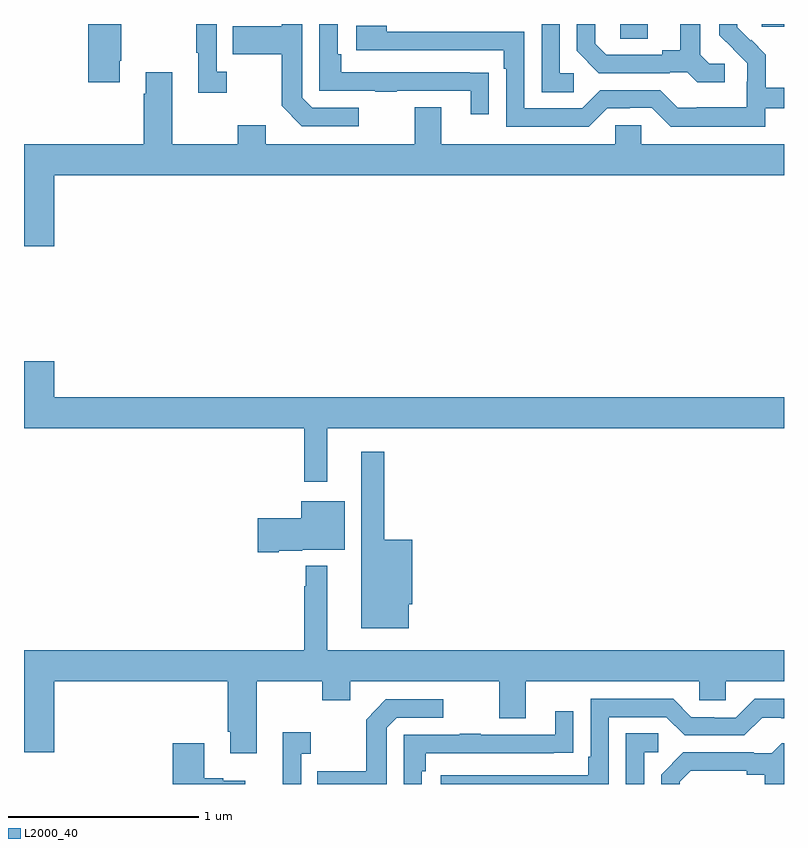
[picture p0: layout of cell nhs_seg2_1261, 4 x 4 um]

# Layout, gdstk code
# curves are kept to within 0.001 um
import gdstk
lib = gdstk.Library(unit=1e-6, precision=1e-09)
def R(c, l, rs):  # rectangles x0, y0, x1, y1
    for r in rs: c.add(gdstk.rectangle(r[:2], r[2:], *l))
def P(c, l, *ps):  # polygons
    for p in ps: c.add(gdstk.Polygon(p, *l))
L2000_40 = (2000, 40)

nhs_seg2_1261 = lib.new_cell('nhs_seg2_1261')
R(nhs_seg2_1261, L2000_40, [(180.138,613.723,180.283,613.8), (180.884,613.785,181,613.8)])
P(nhs_seg2_1261, L2000_40, [(178.066,613.55),(178.014,613.55),(178.014,613.8),(177.906,613.8),(177.906,613.649),(177.917,613.649),(177.917,613.437),(178.066,613.437)],
  [(180.688,613.59),(180.606,613.59),(180.559,613.637),(180.559,613.8),(180.455,613.8),(180.455,613.661),(180.359,613.661),(180.359,613.638),(180.064,613.638),(180.007,613.695),(180.007,613.8),(179.91,613.8),(179.91,613.658),(180.026,613.542),(180.398,613.542),(180.398,613.545),(180.492,613.545),(180.544,613.493),(180.688,613.493)],
  [(178.762,613.359),(178.518,613.359),(178.464,613.413),(178.464,613.8),(178.356,613.8),(178.356,613.789),(178.099,613.789),(178.099,613.642),(178.356,613.642),(178.356,613.369),(178.461,613.263),(178.762,613.263)],
  [(177.505,613.606),(177.513,613.606),(177.513,613.8),(177.338,613.8),(177.338,613.494),(177.505,613.494)],
  [(180.9,613.356),(181,613.356),(181,613.465),(180.905,613.465),(180.905,613.639),(180.828,613.716),(180.825,613.713),(180.755,613.784),(180.755,613.8),(180.66,613.8),(180.66,613.742),(180.806,613.594),(180.806,613.497),(180.804,613.497),(180.804,613.363),(180.541,613.363),(180.541,613.359),(180.441,613.359),(180.348,613.452),(180.033,613.452),(179.937,613.356),(179.634,613.356),(179.634,613.758),(178.91,613.758),(178.91,613.792),(178.749,613.792),(178.749,613.662),(179.525,613.662),(179.525,613.565),(179.538,613.565),(179.538,613.26),(179.973,613.26),(180.069,613.356),(180.188,613.356),(180.188,613.359),(180.303,613.359),(180.403,613.259),(180.9,613.259)],
  [(179.447,613.544),(179.345,613.544),(179.345,613.545),(178.67,613.545),(178.67,613.642),(178.65,613.642),(178.65,613.8),(178.554,613.8),(178.554,613.449),(178.849,613.449),(178.849,613.444),(178.961,613.444),(178.961,613.449),(179.351,613.449),(179.351,613.326),(179.447,613.326)],
  [(179.893,613.542),(179.82,613.542),(179.82,613.8),(179.724,613.8),(179.724,613.441),(179.893,613.441)],
  [(177.16,613.004),(181,613.004),(181,613.168),(180.249,613.168),(180.249,613.266),(180.111,613.266),(180.111,613.168),(179.197,613.168),(179.197,613.363),(179.057,613.363),(179.057,613.168),(178.273,613.168),(178.273,613.267),(178.126,613.267),(178.126,613.168),(177.781,613.168),(177.781,613.546),(177.641,613.546),(177.641,613.433),(177.629,613.433),(177.629,613.168),(177,613.168),(177,612.63),(177.16,612.63)],
  [(178.597,611.672),(181,611.672),(181,611.836),(177.16,611.836),(177.16,612.025),(177,612.025),(177,611.672),(178.476,611.672),(178.476,611.391),(178.597,611.391)],
  [(179.026,610.746),(179.044,610.746),(179.044,611.086),(178.897,611.086),(178.897,611.548),(178.775,611.548),(178.775,610.619),(179.026,610.619)],
  [(178.342,611.027),(178.464,611.027),(178.464,611.033),(178.687,611.033),(178.687,611.287),(178.46,611.287),(178.46,611.199),(178.23,611.199),(178.23,611.021),(178.342,611.021)],
  [(178.225,610.34),(178.57,610.34),(178.57,610.241),(178.717,610.241),(178.717,610.34),(179.501,610.34),(179.501,610.146),(179.641,610.146),(179.641,610.34),(180.555,610.34),(180.555,610.242),(180.693,610.242),(180.693,610.34),(181,610.34),(181,610.504),(178.597,610.504),(178.597,610.948),(178.483,610.948),(178.483,610.841),(178.476,610.841),(178.476,610.504),(177,610.504),(177,609.966),(177.16,609.966),(177.16,610.34),(178.073,610.34),(178.073,610.075),(178.085,610.075),(178.085,609.963),(178.225,609.963)],
  [(180.078,610.152),(180.381,610.152),(180.477,610.056),(180.792,610.056),(180.885,610.149),(180.985,610.149),(180.985,610.145),(181,610.145),(181,610.249),(180.847,610.249),(180.747,610.149),(180.632,610.149),(180.632,610.152),(180.513,610.152),(180.417,610.248),(179.982,610.248),(179.982,609.943),(179.969,609.943),(179.969,609.846),(179.193,609.846),(179.193,609.8),(180.078,609.8)],
  [(178.908,610.095),(178.962,610.149),(179.206,610.149),(179.206,610.245),(178.905,610.245),(178.8,610.139),(178.8,609.867),(178.543,609.867),(178.543,609.8),(178.908,609.8)],
  [(179.094,609.866),(179.114,609.866),(179.114,609.963),(179.789,609.963),(179.789,609.964),(179.891,609.964),(179.891,610.183),(179.795,610.183),(179.795,610.059),(179.405,610.059),(179.405,610.064),(179.293,610.064),(179.293,610.059),(178.998,610.059),(178.998,609.8),(179.094,609.8)],
  [(178.458,609.959),(178.51,609.959),(178.51,610.072),(178.361,610.072),(178.361,609.8),(178.458,609.8)],
  [(180.264,609.966),(180.337,609.966),(180.337,610.067),(180.168,610.067),(180.168,609.8),(180.264,609.8)],
  [(178.165,609.817),(178.049,609.817),(178.049,609.83),(177.949,609.83),(177.949,610.015),(177.782,610.015),(177.782,609.8),(178.165,609.8)],
  [(180.451,609.813),(180.508,609.87),(180.803,609.87),(180.803,609.848),(180.899,609.848),(180.899,609.8),(181,609.8),(181,610.015),(180.988,610.015),(180.936,609.963),(180.842,609.963),(180.842,609.966),(180.47,609.966),(180.354,609.85),(180.354,609.8),(180.451,609.8)])

lib.write_gds('nhs_seg2_1261.gds')
